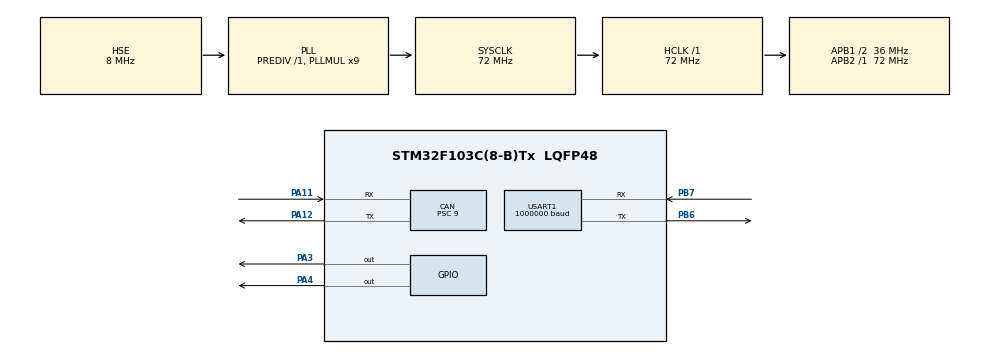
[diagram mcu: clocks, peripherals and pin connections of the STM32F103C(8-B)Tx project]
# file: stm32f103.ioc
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Mcu.Family=STM32F1
RCC.PLLSourceVirtual=RCC_PLLSOURCE_HSE
Dma.USART1_TX.1.Instance=DMA1_Channel4
NVIC.CAN1_RX1_IRQn=true\:0\:0\:false\:false\:true\:true\:true
NVIC.DMA1_Channel5_IRQn=true\:0\:0\:false\:false\:true\:false\:true
PD1-OSC_OUT.Mode=HSE-External-Oscillator
Dma.USART1_RX.0.PeriphDataAlignment=DMA_PDATAALIGN_BYTE
Dma.USART1_TX.1.MemInc=DMA_MINC_ENABLE
CAN.ABOM=ENABLE
USART1.BaudRate=1000000
PA11.Mode=Master
PD0-OSC_IN.Signal=RCC_OSC_IN
RCC.APB1CLKDivider=RCC_HCLK_DIV2
PA3.GPIO_Speed=GPIO_SPEED_FREQ_HIGH
CAN.CalculateTimeBit=2000
RCC.SYSCLKSource=RCC_SYSCLKSOURCE_PLLCLK
ProjectManager.StackSize=0x400
PD1-OSC_OUT.Signal=RCC_OSC_OUT
CAN.TTCM=DISABLE
PA13.Signal=SYS_JTMS-SWDIO
PA12.Signal=CAN_TX
CAN.Prescaler=9
CAN.BS1=CAN_BS1_6TQ
ProjectManager.TargetToolchain=MDK-ARM V5.27
Dma.USART1_RX.0.Direction=DMA_PERIPH_TO_MEMORY
RCC.HCLKFreq_Value=72000000
RCC.APB2TimFreq_Value=72000000
PB6.Signal=USART1_TX
PB6.Mode=Asynchronous
RCC.USBFreq_Value=72000000
RCC.AHBFreq_Value=72000000
Dma.USART1_RX.0.PeriphInc=DMA_PINC_DISABLE
Dma.USART1_RX.0.Priority=DMA_PRIORITY_HIGH
PD0-OSC_IN.Mode=HSE-External-Oscillator
Dma.USART1_TX.1.MemDataAlignment=DMA_MDATAALIGN_BYTE
board=custom
RCC.PLLMUL=RCC_PLL_MUL9
PA4.GPIO_Speed=GPIO_SPEED_FREQ_HIGH
RCC.APB2Freq_Value=72000000
PA14.Mode=Serial_Wire
NVIC.USB_LP_CAN1_RX0_IRQn=true\:0\:0\:false\:false\:true\:true\:true
CAN.NART=ENABLE
Dma.USART1_RX.0.MemDataAlignment=DMA_MDATAALIGN_BYTE
PB7.Signal=USART1_RX
Dma.USART1_RX.0.MemInc=DMA_MINC_ENABLE
PA13.Mode=Serial_Wire
Mcu.Name=STM32F103C(8-B)Tx
CAN.CalculateTimeQuantum=250.0
Dma.USART1_TX.1.PeriphDataAlignment=DMA_PDATAALIGN_BYTE
PA4.Signal=GPIO_Output
RCC.SYSCLKFreq_VALUE=72000000
Mcu.Package=LQFP48
PA12.Mode=Master
Dma.USART1_TX.1.Mode=DMA_NORMAL
USART1.VirtualMode=VM_ASYNC
PB7.Mode=Asynchronous
PA11.Signal=CAN_RX
PA14.Signal=SYS_JTCK-SWCLK
ProjectManager.HeapSize=0x400
Dma.USART1_TX.1.PeriphInc=DMA_PINC_DISABLE
NVIC.PriorityGroup=NVIC_PRIORITYGROUP_4
Dma.Request1=USART1_TX
RCC.APB1TimFreq_Value=72000000
Dma.USART1_RX.0.Mode=DMA_NORMAL
Dma.USART1_TX.1.Priority=DMA_PRIORITY_HIGH
NVIC.DMA1_Channel4_IRQn=true\:0\:0\:false\:false\:true\:false\:true
NVIC.USART1_IRQn=true\:0\:0\:false\:false\:true\:true\:true
Dma.Request0=USART1_RX
RCC.APB1Freq_Value=36000000
Dma.USART1_RX.0.Instance=DMA1_Channel5
PA3.Signal=GPIO_Output
Dma.USART1_TX.1.Direction=DMA_MEMORY_TO_PERIPH

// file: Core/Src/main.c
/* USER CODE BEGIN Header */
/**
  ******************************************************************************
  * @file           : main.c
  * @brief          : Main program body
  ******************************************************************************
  * @attention
  *
  * <h2><center>&copy; Copyright (c) 2020 STMicroelectronics.
  * All rights reserved.</center></h2>
  *
  * This software component is licensed by ST under BSD 3-Clause license,
  * the "License"; You may not use this file except in compliance with the
  * License. You may obtain a copy of the License at:
  *                        opensource.org/licenses/BSD-3-Clause
  *
  ******************************************************************************
  */
/* USER CODE END Header */
#include "main.h"
#include "can.h"
#include "dma.h"
#include "usart.h"
#include "gpio.h"

/* USER CODE BEGIN Includes */
#include "bsp_can.h"
#include "kfifo.h"
#include "tool.h"
/* USER CODE END Includes */

void SystemClock_Config(void);

/* USER CODE BEGIN 0 */
uint8_t can_rx_buff[1024] = {0};
uint8_t uart_rx_buff[1024] = {0};
uint8_t print_buff[256] = {0};
uint16_t print_len = 0;

MyCanRxMsgTypeDef	gCanTempMsg;

uint32_t task_cnt = 0;
/* USER CODE END 0 */

int main(void)
{

  /* MCU Configuration--------------------------------------------------------*/

  /* Reset of all peripherals, Initializes the Flash interface and the Systick. */
  HAL_Init();

  /* Configure the system clock */
  SystemClock_Config();

  /* Initialize all configured peripherals */
  MX_GPIO_Init();
  MX_DMA_Init();
  MX_CAN_Init();
  MX_USART1_UART_Init();
  /* USER CODE BEGIN 2 */
  kfifo_init(&gFifoCanRx, can_rx_buff, 1024);
  kfifo_init(&gFifoUartRx, uart_rx_buff, 1024);

  uint8_t temp = 0;
  HAL_UART_Receive_IT(&huart1, &temp, 1);

  hw_can_init();
  /* USER CODE END 2 */

  /* Infinite loop */
  /* USER CODE BEGIN WHILE */
  while (1)
  {
      while(kfifo_len(&gFifoCanRx) >= sizeof(MyCanRxMsgTypeDef))
      {
          char temp_buff[256] = {0};
          print_len = 0;

          HAL_GPIO_WritePin(GPIOA, GPIO_PIN_3, GPIO_PIN_SET);

          kfifo_get(&gFifoCanRx, (uint8_t *)&gCanTempMsg, sizeof(MyCanRxMsgTypeDef));

          if(gCanTempMsg.IDE == CAN_ID_STD)
          {
              print_len += sprintf(temp_buff+print_len, "STD_ID: %03X  ", gCanTempMsg.StdId);
          }
          else
          {
              print_len += sprintf(temp_buff+print_len, "EXT_ID: %03X  ", gCanTempMsg.ExtId);
          }

          print_len += sprintf(temp_buff+print_len, "DLC: %d  ", gCanTempMsg.DLC);
          print_len += sprintf(temp_buff+print_len, "DATA: ");

          for(int i=0; i<gCanTempMsg.DLC; i++)
          {
              print_len += sprintf(temp_buff+print_len, "%02X ", gCanTempMsg.Data[i]);
          }

          print_len += sprintf(temp_buff+print_len, "\r\n");

          while(HAL_DMA_STATE_READY != HAL_DMA_GetState(&hdma_usart1_tx));
          memset(print_buff, 0, print_len+2);
          memcpy(print_buff, temp_buff, print_len);
          HAL_UART_Transmit_DMA(&huart1, print_buff, print_len);

          HAL_GPIO_WritePin(GPIOA, GPIO_PIN_3, GPIO_PIN_RESET);
      }
      task_cnt++;
      if((task_cnt%250) == 0)
      {
          HAL_GPIO_TogglePin(GPIOA, GPIO_PIN_4);
      }
      HAL_Delay(1);
    /* USER CODE END WHILE */

  }
}

void SystemClock_Config(void)
{
  RCC_OscInitTypeDef RCC_OscInitStruct = {0};
  RCC_ClkInitTypeDef RCC_ClkInitStruct = {0};

  /** Initializes the RCC Oscillators according to the specified parameters
  * in the RCC_OscInitTypeDef structure.
  */
  RCC_OscInitStruct.OscillatorType = RCC_OSCILLATORTYPE_HSE;
  RCC_OscInitStruct.HSEState = RCC_HSE_ON;
  RCC_OscInitStruct.HSEPredivValue = RCC_HSE_PREDIV_DIV1;
  RCC_OscInitStruct.HSIState = RCC_HSI_ON;
  RCC_OscInitStruct.PLL.PLLState = RCC_PLL_ON;
  RCC_OscInitStruct.PLL.PLLSource = RCC_PLLSOURCE_HSE;
  RCC_OscInitStruct.PLL.PLLMUL = RCC_PLL_MUL9;
  if (HAL_RCC_OscConfig(&RCC_OscInitStruct) != HAL_OK)
  {
    Error_Handler();
  }
  /** Initializes the CPU, AHB and APB buses clocks
  */
  RCC_ClkInitStruct.ClockType = RCC_CLOCKTYPE_HCLK|RCC_CLOCKTYPE_SYSCLK
                              |RCC_CLOCKTYPE_PCLK1|RCC_CLOCKTYPE_PCLK2;
  RCC_ClkInitStruct.SYSCLKSource = RCC_SYSCLKSOURCE_PLLCLK;
  RCC_ClkInitStruct.AHBCLKDivider = RCC_SYSCLK_DIV1;
  RCC_ClkInitStruct.APB1CLKDivider = RCC_HCLK_DIV2;
  RCC_ClkInitStruct.APB2CLKDivider = RCC_HCLK_DIV1;

  if (HAL_RCC_ClockConfig(&RCC_ClkInitStruct, FLASH_LATENCY_2) != HAL_OK)
  {
    Error_Handler();
  }
}

void Error_Handler(void)
{
}

/************************ (C) COPYRIGHT STMicroelectronics *****END OF FILE****/
